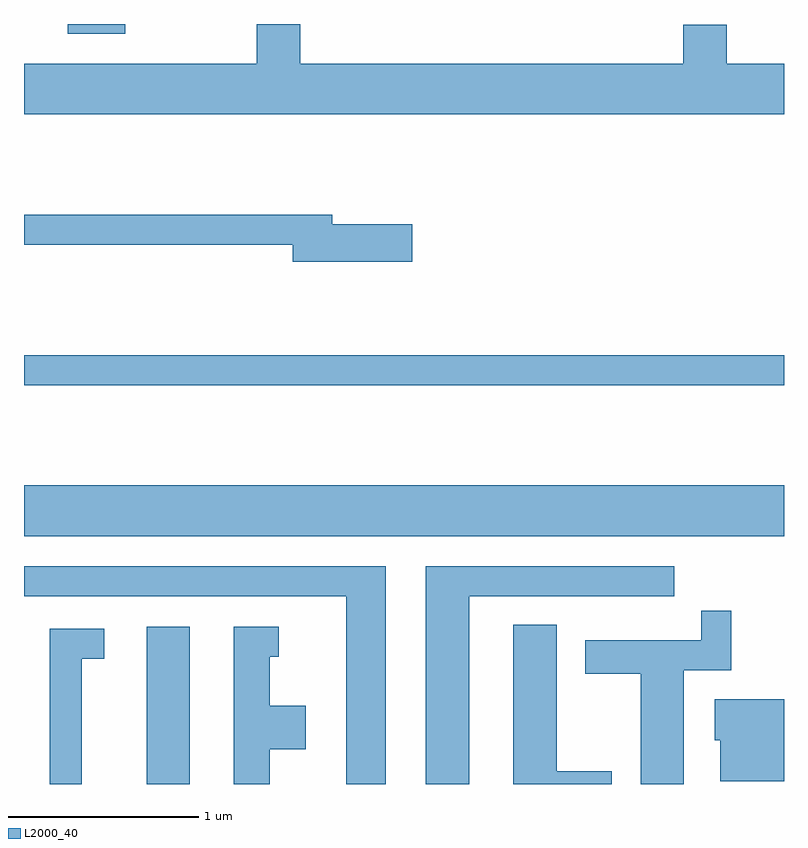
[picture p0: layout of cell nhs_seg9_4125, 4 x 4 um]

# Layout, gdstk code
import gdstk
lib = gdstk.Library(unit=1e-6, precision=1e-09)
def R(c, l, rs):  # rectangles x0, y0, x1, y1
    for r in rs: c.add(gdstk.rectangle(r[:2], r[2:], *l))
def P(c, l, *ps):  # polygons
    for p in ps: c.add(gdstk.Polygon(p, *l))
L2000_40 = (2000, 40)

nhs_seg9_4125 = lib.new_cell('nhs_seg9_4125')
R(nhs_seg9_4125, L2000_40, [(306.256,2070.432,306.484,2071.259), (305.611,2071.736,309.611,2072.004), (305.611,2072.531,309.611,2072.689), (305.841,2074.381,306.144,2074.432)])
P(nhs_seg9_4125, L2000_40, [(309.611,2074.224),(309.309,2074.224),(309.309,2074.429),(309.081,2074.429),(309.081,2074.224),(307.064,2074.224),(307.064,2074.432),(306.836,2074.432),(306.836,2074.224),(305.611,2074.224),(305.611,2073.956),(309.611,2073.956)],
  [(307.654,2073.379),(307.234,2073.379),(307.234,2073.429),(305.611,2073.429),(305.611,2073.271),(307.026,2073.271),(307.026,2073.181),(307.654,2073.181)],
  [(307.954,2071.421),(309.033,2071.421),(309.033,2071.579),(307.726,2071.579),(307.726,2070.432),(307.954,2070.432)],
  [(307.514,2071.579),(305.611,2071.579),(305.611,2071.421),(307.306,2071.421),(307.306,2070.432),(307.514,2070.432)],
  [(309.084,2071.031),(309.334,2071.031),(309.334,2071.343),(309.176,2071.343),(309.176,2071.189),(308.566,2071.189),(308.566,2071.011),(308.856,2071.011),(308.856,2070.432),(309.084,2070.432)],
  [(308.704,2070.499),(308.414,2070.499),(308.414,2071.269),(308.186,2071.269),(308.186,2070.432),(308.704,2070.432)],
  [(306.904,2070.616),(307.094,2070.616),(307.094,2070.844),(306.904,2070.844),(306.904,2071.101),(306.953,2071.101),(306.953,2071.259),(306.716,2071.259),(306.716,2070.432),(306.904,2070.432)],
  [(305.914,2071.091),(306.033,2071.091),(306.033,2071.249),(305.746,2071.249),(305.746,2070.432),(305.914,2070.432)],
  [(309.611,2070.879),(309.246,2070.879),(309.246,2070.661),(309.276,2070.661),(309.276,2070.446),(309.611,2070.446)])

lib.write_gds('nhs_seg9_4125.gds')
